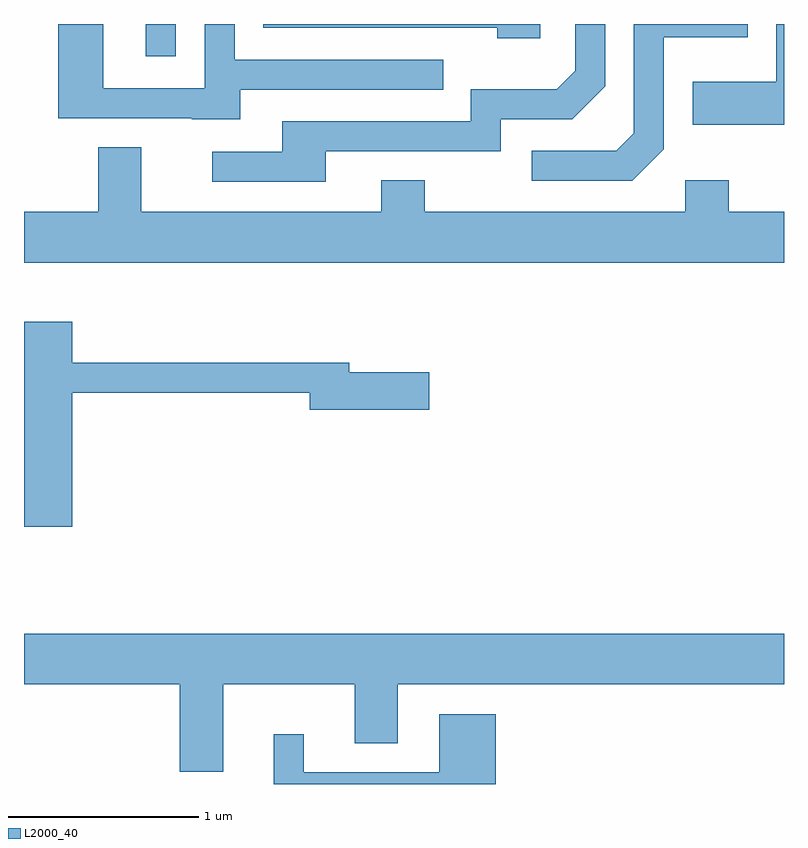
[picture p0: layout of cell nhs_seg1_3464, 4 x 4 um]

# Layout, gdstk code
import gdstk
lib = gdstk.Library(unit=1e-6, precision=1e-09)
def R(c, l, rs):  # rectangles x0, y0, x1, y1
    for r in rs: c.add(gdstk.rectangle(r[:2], r[2:], *l))
def P(c, l, *ps):  # polygons
    for p in ps: c.add(gdstk.Polygon(p, *l))
L2000_40 = (2000, 40)

nhs_seg1_3464 = lib.new_cell('nhs_seg1_3464')
R(nhs_seg1_3464, L2000_40, [(290.251,909.543,290.409,909.712)])
P(nhs_seg1_3464, L2000_40, [(293.611,909.712),(293.571,909.712),(293.571,909.409),(293.131,909.409),(293.131,909.181),(293.611,909.181)],
  [(292.979,909.054),(292.979,909.641),(293.419,909.641),(293.419,909.712),(292.821,909.712),(292.821,909.137),(292.729,909.044),(292.283,909.044),(292.283,908.886),(292.812,908.886)],
  [(292.329,909.712),(290.871,909.712),(290.871,909.691),(292.101,909.691),(292.101,909.636),(292.329,909.636)],
  [(291.199,909.041),(292.119,909.041),(292.119,909.211),(292.497,909.211),(292.669,909.384),(292.669,909.712),(292.511,909.712),(292.511,909.467),(292.414,909.369),(291.961,909.369),(291.961,909.199),(290.971,909.199),(290.971,909.039),(290.603,909.039),(290.603,908.881),(291.199,908.881)],
  [(290.749,909.366),(291.818,909.366),(291.818,909.524),(290.719,909.524),(290.719,909.712),(290.561,909.712),(290.561,909.374),(290.029,909.374),(290.029,909.712),(289.791,909.712),(289.791,909.216),(290.495,909.216),(290.495,909.211),(290.749,909.211)],
  [(293.611,908.724),(293.319,908.724),(293.319,908.889),(293.091,908.889),(293.091,908.724),(291.719,908.724),(291.719,908.889),(291.491,908.889),(291.491,908.724),(290.229,908.724),(290.229,909.064),(290.001,909.064),(290.001,908.724),(289.611,908.724),(289.611,908.456),(293.611,908.456)],
  [(289.864,907.771),(291.116,907.771),(291.116,907.681),(291.744,907.681),(291.744,907.879),(291.324,907.879),(291.324,907.929),(289.864,907.929),(289.864,908.144),(289.611,908.144),(289.611,907.066),(289.864,907.066)],
  [(290.659,906.236),(291.351,906.236),(291.351,905.926),(291.579,905.926),(291.579,906.236),(293.611,906.236),(293.611,906.504),(289.611,906.504),(289.611,906.236),(290.431,906.236),(290.431,905.776),(290.659,905.776)],
  [(292.094,906.079),(291.796,906.079),(291.796,905.774),(291.084,905.774),(291.084,905.973),(290.926,905.973),(290.926,905.712),(292.094,905.712)])

lib.write_gds('nhs_seg1_3464.gds')
